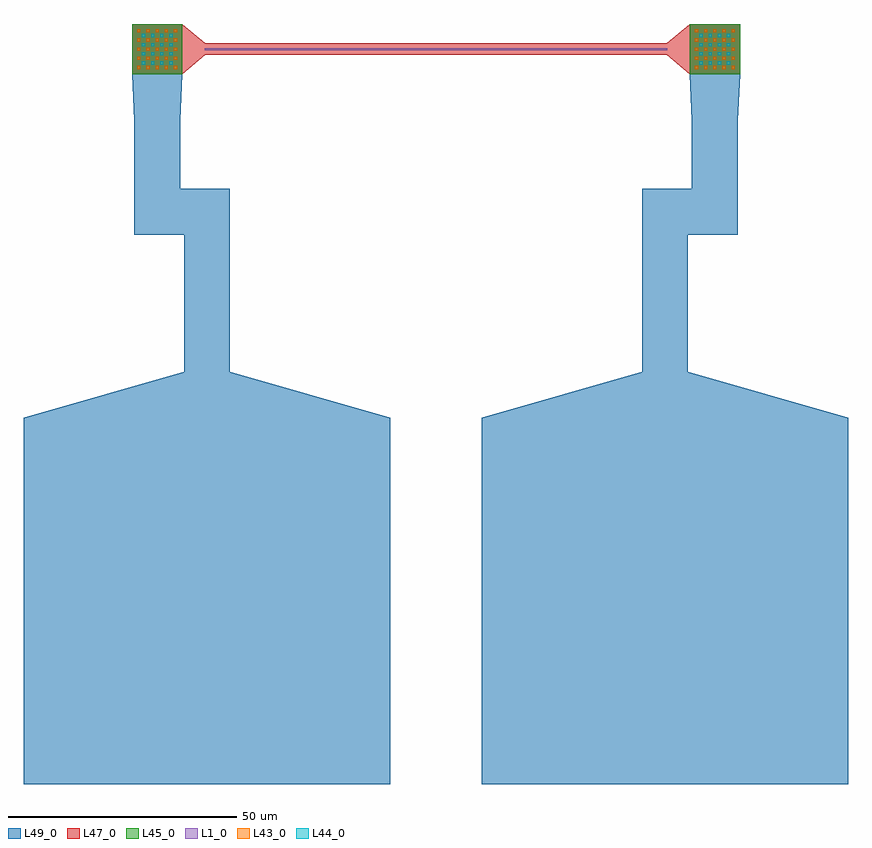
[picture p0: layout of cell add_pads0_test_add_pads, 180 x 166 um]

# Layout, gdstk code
from math import pi, radians
import gdstk
lib = gdstk.Library(unit=1e-6, precision=1e-09)
def R(c, l, rs):  # rectangles x0, y0, x1, y1
    for r in rs: c.add(gdstk.rectangle(r[:2], r[2:], *l))
def A(c, l, x, y, w, h, nx, ny, dx, dy):  # array of equal rectangles
    R(c, l, [(x+i*dx, y+j*dy, x+i*dx+w, y+j*dy+h) for i in range(nx) for j in range(ny)])
def P(c, l, *ps):  # polygons
    for p in ps: c.add(gdstk.Polygon(p, *l))
L1_0 = (1, 0)
L43_0 = (43, 0)
L44_0 = (44, 0)
L45_0 = (45, 0)
L47_0 = (47, 0)
L49_0 = (49, 0)

straight_heater_metal_u_ = lib.new_cell('straight_heater_metal_u_f3bdbbe8')
R(straight_heater_metal_u_, L1_0, [(0,-0.25,101,0.25)])
A(straight_heater_metal_u_, L43_0, -14.75, -4.35, 0.7, 0.7, 5, 5, 2, 2)
A(straight_heater_metal_u_, L43_0, 107.05, -4.35, 0.7, 0.7, 5, 5, 2, 2)
A(straight_heater_metal_u_, L44_0, -13.75, -3.35, 0.7, 0.7, 4, 4, 2, 2)
A(straight_heater_metal_u_, L44_0, 108.05, -3.35, 0.7, 0.7, 4, 4, 2, 2)
R(straight_heater_metal_u_, L45_0, [(-15.9,-5.5,-4.9,5.5), (105.9,-5.5,116.9,5.5)])
P(straight_heater_metal_u_, L47_0, [(-15.9,-5.5),(-15.9,5.5),(-4.9,5.5),(0.1,1.25),(100.9,1.25),(105.9,5.5),(116.9,5.5),(116.9,-5.5),(105.9,-5.5),(100.9,-1.25),(0.1,-1.25),(-4.9,-5.5)])
R(straight_heater_metal_u_, L49_0, [(-15.9,-5.5,-4.9,5.5), (105.9,-5.5,116.9,5.5)])

pad_gdsfactorypcomponen_ = lib.new_cell('pad_gdsfactorypcomponen_e43d6fec')
R(pad_gdsfactorypcomponen_, L49_0, [(-40,-40,40,40)])

taper_gdsfactorypcompon_ = lib.new_cell('taper_gdsfactorypcompon_30da7aae')
P(taper_gdsfactorypcompon_, L49_0, [(0,-5.5),(0,5.5),(10,5),(10,-5)])

c_taper_gdsfactorypcompon_ = lib.new_cell('taper_gdsfactorypcompon_d7c6bdbc')
P(c_taper_gdsfactorypcompon_, L49_0, [(0,-40),(0,40),(10,5),(10,-5)])

add_pads0_test_add_pads = lib.new_cell('add_pads0_test_add_pads')
P(add_pads0_test_add_pads, L49_0, [(-4.5,-70.5),(-4.5,-40.5),(-15.4,-40.5),(-15.4,-15.5),(-5.4,-15.5),(-5.4,-30.5),(5.5,-30.5),(5.5,-70.5)],
  [(95.5,-70.5),(95.5,-30.5),(106.4,-30.5),(106.4,-15.5),(116.4,-15.5),(116.4,-40.5),(105.5,-40.5),(105.5,-70.5)])
add_pads0_test_add_pads.add(gdstk.Reference(straight_heater_metal_u_, (0,0)))
add_pads0_test_add_pads.add(gdstk.Reference(pad_gdsfactorypcomponen_, (0.5,-120.5), rotation=3*pi/2))
add_pads0_test_add_pads.add(gdstk.Reference(pad_gdsfactorypcomponen_, (100.5,-120.5), rotation=3*pi/2))
add_pads0_test_add_pads.add(gdstk.Reference(taper_gdsfactorypcompon_, (-10.4,-5.5), rotation=3*pi/2))
add_pads0_test_add_pads.add(gdstk.Reference(taper_gdsfactorypcompon_, (111.4,-5.5), rotation=3*pi/2))
add_pads0_test_add_pads.add(gdstk.Reference(c_taper_gdsfactorypcompon_, (0.5,-80.5), rotation=pi/2))
add_pads0_test_add_pads.add(gdstk.Reference(c_taper_gdsfactorypcompon_, (100.5,-80.5), rotation=pi/2))
add_pads0_test_add_pads.add(gdstk.Reference(straight_heater_metal_u_, (0,0)))

lib.write_gds('add_pads0_test_add_pads.gds')
